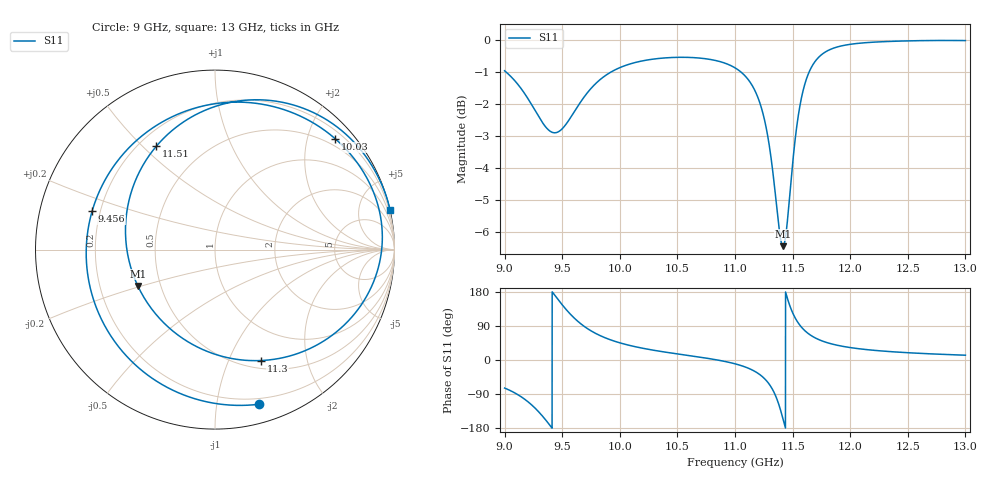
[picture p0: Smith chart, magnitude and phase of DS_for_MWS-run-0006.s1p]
! TOUCHSTONE file generated by CST DESIGN STUDIO
! Date and time: Tue Jan 28 13:35:09 2025
! Project name: C:\Work\MatlabApps\UnitCellOptimizationMatlabNew\CST\unitcell.cst
! Tree item: Tasks\Sweep1\SPara1\S-Parameters
! Header version: 2024
! Port assignment regex: !\s*Touchstone port\s*([0-9]+)\s*=\s*(CST MWS port|CST DES external port|CST DES block port)\s*(.+)\s* \(\"(.*)\"\)(\s*mode\s*([0-9]+))?.*
! Touchstone port assignment:
! Touchstone port 1 = CST DES external port 1 ("")
# GHz S MA R 50
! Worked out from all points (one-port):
!   4001 points, 9 GHz to 13 GHz, reference 50 ohm
!   lowest |S11| = -6.5 dB at 11.42 GHz (marker M1), VSWR 2.81, Z = 18.6 - j9.74 ohm
!   |S11| at or under -10 dB: nowhere
!   S11 on the Smith chart (normalised r, x): 9 GHz: 0.15, -1.32; 9.456 GHz: 0.17, +0.15; 10.03 GHz: 0.35, +2.52; 11.3 GHz: 0.59, -1.33; 11.51 GHz: 0.27, +0.55; 13 GHz: 0.02, +9.01
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9  0.8961 -74.0
9.135  0.8442 -95.3
9.238  0.7909 -119.4
9.359  0.7305 -159.1
9.456  0.7173 162.7
9.5  0.7266 145.7
9.589  0.7648 115.3
9.685  0.8126 90.1
9.833  0.8692 63.8
10  0.9064 45.3
10.031  0.9111 42.7
10.5  0.9408 16.0
11  0.9058 -10.0
11.184  0.8259 -32.1
11.248  0.7612 -46.8
11.305  0.6699 -67.3
11.363  0.5454 -102.4
11.416  0.4753 -154.7
11.456  0.5231 161.6
11.5  0.6402 124.9
11.508  0.6621 119.6
11.543  0.7483 100.5
11.583  0.8222 84.6
11.703  0.9308 57.3
11.826  0.9678 43.5
12  0.9861 32.8
12.5  0.9984 19.2
13  0.9995 12.7
